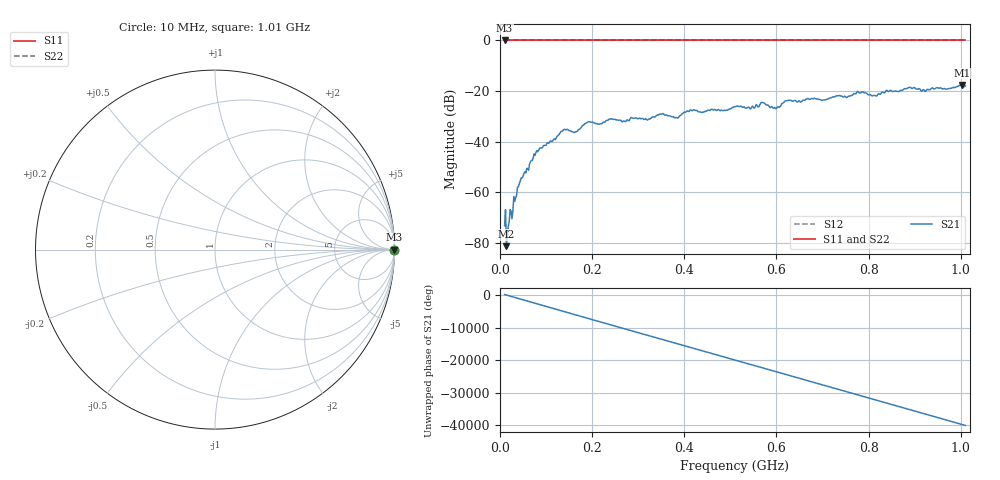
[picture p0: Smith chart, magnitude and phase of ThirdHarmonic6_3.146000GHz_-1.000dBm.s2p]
! 8/17/2025 9:24:26 AM
! C:\ANRITSUVNA\TEMP\TEMP.S2P
! CHANNEL.1
! TR.MEASUREMENT
! RAW.DATA
! RF.CORRECTION.OFF
! AVERAGING.OFF
! IF.BANDWIDTH: 5KHZ
! SWEEPTYPE:  FREQ.SWEEP(Linear)
! Reference Plane Port Info
! PORT:  PORT1  PORT2
! DISTANCE:  0  m  0  m
! TIME:  0  s  0  s
! PHASE.OFFSET:  0  deg.  0  deg.
! LOSS:  0  dB  0  dB
! REF.LOSS:  0  dB  0  dB
! REF.FREQ:  0  Hz  0  Hz
! Power Info
! POWER:  -20  dBm  -20  dBm
! EFF.POWER:  -20  dBm  -20  dBm
! SOURCE.ATTEN:  0  dB  0  dB
! TEST.ATTEN:  0  dB  0  dB
# GHZ S RI R 50.0
! FREQ.GHZ  S11RE  S11IM  S21RE  S21IM  S12RE  S12IM  S22RE  S22IM
!; PortSelection: Port_12
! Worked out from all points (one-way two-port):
!   501 points, 10 MHz to 1.01 GHz, reference 50 ohm
!   highest |S21| = -17.56 dB at 1.002 GHz (marker M1); lowest = -81.2 dB at 14 MHz (marker M2)
!   lowest |S11| = 0.0 dB at 10 MHz (marker M3)
!   |S11| at or under -10 dB: nowhere
!   |S22| runs from 0.0 to 0.0 dB; largest |S21 - S12| = 1.1
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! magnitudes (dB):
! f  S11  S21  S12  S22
! 10 MHz  0.0  -73.1  0.0  0.0
! 14 MHz  0.0  -81.2  0.0  0.0
! 18 MHz  0.0  -73.3  0.0  0.0
! 42 MHz  0.0  -56.5  0.0  0.0
! 76 MHz  0.0  -45.3  0.0  0.0
! 136 MHz  0.0  -35.7  0.0  0.0
! 164 MHz  0.0  -36.1  0.0  0.0
! 178 MHz  0.0  -33.9  0.0  0.0
! 192 MHz  0.0  -32.1  0.0  0.0
! 344 MHz  0.0  -29.4  0.0  0.0
! 384 MHz  0.0  -30.5  0.0  0.0
! 416 MHz  0.0  -27.7  0.0  0.0
! 510 MHz  0.0  -26.2  0.0  0.0
! 570 MHz  0.0  -24.5  0.0  0.0
! 596 MHz  0.0  -26.4  0.0  0.0
! 622 MHz  0.0  -23.8  0.0  0.0
! 678 MHz  0.0  -23.0  0.0  0.0
! 778 MHz  0.0  -20.4  0.0  0.0
! 814 MHz  0.0  -21.8  0.0  0.0
! 844 MHz  0.0  -20.2  0.0  0.0
! 1.002 GHz  0.0  -17.6  0.0  0.0
! 1.01 GHz  0.0  -17.9  0.0  0.0
